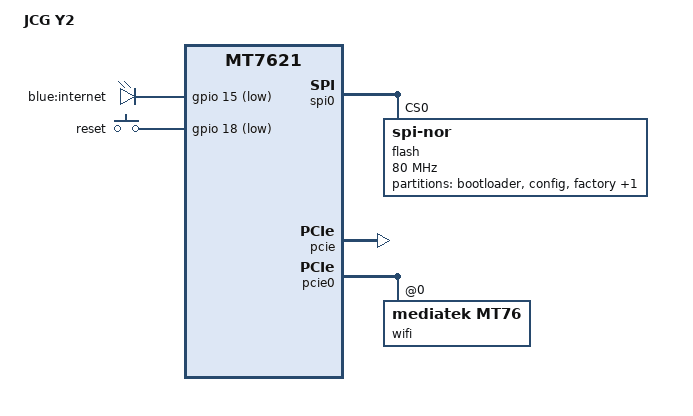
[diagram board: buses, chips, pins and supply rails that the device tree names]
// SPDX-License-Identifier: GPL-2.0-or-later OR MIT

#include "mt7621.dtsi"

#include <dt-bindings/gpio/gpio.h>
#include <dt-bindings/input/input.h>

/ {
	compatible = "jcg,y2", "mediatek,mt7621-soc";
	model = "JCG Y2";

	aliases {
		led-boot = &led_internet;
		led-failsafe = &led_internet;
		led-upgrade = &led_internet;
	};

	leds {
		compatible = "gpio-leds";

		led_internet: internet {
			label = "blue:internet";
			gpios = <&gpio 15 GPIO_ACTIVE_LOW>;
		};
	};

	keys {
		compatible = "gpio-keys";

		reset {
			label = "reset";
			gpios = <&gpio 18 GPIO_ACTIVE_LOW>;
			linux,code = <KEY_RESTART>;
		};
	};
};

&spi0 {
	status = "okay";

	flash@0 {
		compatible = "jedec,spi-nor";
		reg = <0>;
		spi-max-frequency = <80000000>;
		m25p,fast-read;

		partitions {
			compatible = "fixed-partitions";
			#address-cells = <1>;
			#size-cells = <1>;

			partition@0 {
				label = "bootloader";
				reg = <0x0 0x30000>;
				read-only;
			};

			partition@30000 {
				label = "config";
				reg = <0x30000 0x10000>;
				read-only;
			};

			factory: partition@40000 {
				label = "factory";
				reg = <0x40000 0x10000>;
				read-only;
			};

			partition@50000 {
				compatible = "denx,uimage";
				label = "firmware";
				reg = <0x50000 0xfb0000>;
			};
		};
	};
};

&pcie {
	status = "okay";
};

&pcie0 {
	wifi@0,0 {
		compatible = "mediatek,mt76";
		reg = <0x0000 0 0 0 0>;
		mediatek,mtd-eeprom = <&factory 0x0>;
	};
};

&gmac0 {
	mtd-mac-address = <&factory 0xe000>;
};

&switch0 {
	ports {
		port@0 {
			status = "okay";
			label = "lan4";
		};

		port@1 {
			status = "okay";
			label = "lan3";
		};

		port@2 {
			status = "okay";
			label = "lan2";
		};

		port@3 {
			status = "okay";
			label = "lan1";
		};

		wan: port@4 {
			status = "okay";
			label = "wan";
			mtd-mac-address = <&factory 0xe006>;
		};
	};
};

&state_default {
	gpio {
		groups = "jtag", "wdt";
		function = "gpio";
	};
};
